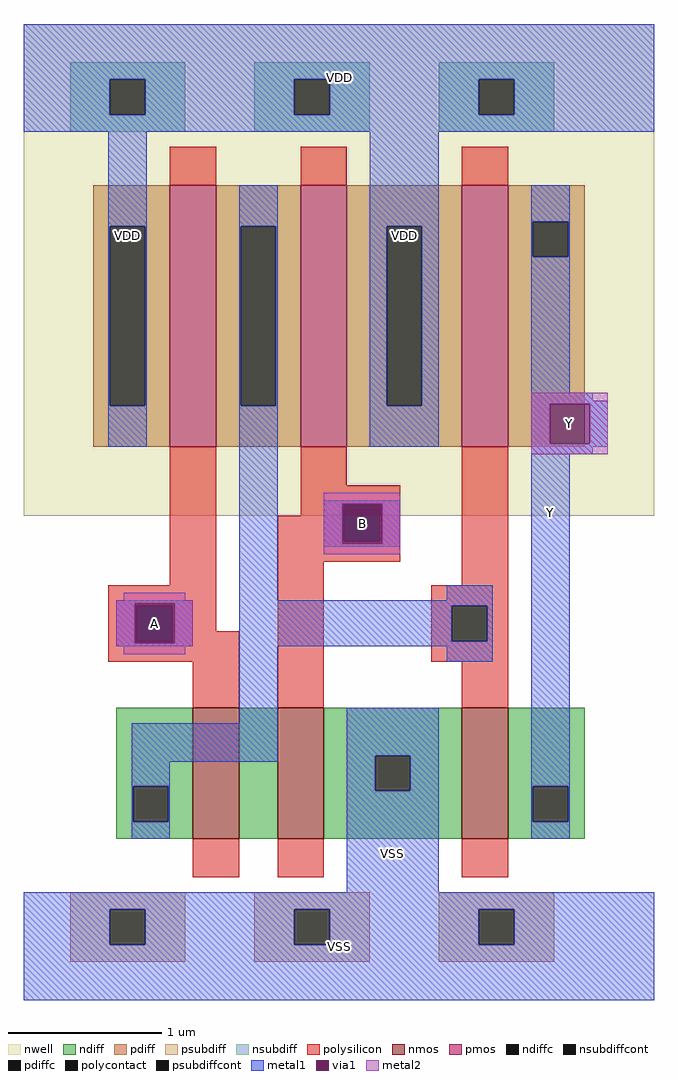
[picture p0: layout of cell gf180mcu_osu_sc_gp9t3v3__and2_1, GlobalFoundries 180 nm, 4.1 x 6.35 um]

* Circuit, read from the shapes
.subckt gf180mcu_osu_sc_gp9t3v3__and2_1 A B Y VDD VSS
XM1 n1 A n2 VSS nfet_03v3 w=0.85u l=0.3u
XM2 VSS B n1 VSS nfet_03v3 w=0.85u l=0.3u
XM3 Y n2 VSS VSS nfet_03v3 w=0.85u l=0.3u
XM4 n2 A VDD VDD pfet_03v3 w=1.7u l=0.3u
XM5 VDD B n2 VDD pfet_03v3 w=1.7u l=0.3u
XM6 Y n2 VDD VDD pfet_03v3 w=1.7u l=0.3u
.ends

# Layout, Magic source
magic
tech gf180mcuA
magscale 1 10
<< nwell >>
rect 0 630 820 1270
<< nmos >>
rect 220 210 280 380
rect 330 210 390 380
rect 570 210 630 380
<< pmos >>
rect 190 720 250 1060
rect 360 720 420 1060
rect 570 720 630 1060
<< ndiff >>
rect 120 278 220 380
rect 120 232 142 278
rect 188 232 220 278
rect 120 210 220 232
rect 280 210 330 380
rect 390 318 570 380
rect 390 272 457 318
rect 503 272 570 318
rect 390 210 570 272
rect 630 278 730 380
rect 630 232 662 278
rect 708 232 730 278
rect 630 210 730 232
<< pdiff >>
rect 90 1007 190 1060
rect 90 773 112 1007
rect 158 773 190 1007
rect 90 720 190 773
rect 250 1007 360 1060
rect 250 773 282 1007
rect 328 773 360 1007
rect 250 720 360 773
rect 420 1007 570 1060
rect 420 773 472 1007
rect 518 773 570 1007
rect 420 720 570 773
rect 630 1013 730 1060
rect 630 967 662 1013
rect 708 967 730 1013
rect 630 720 730 967
<< ndiffc >>
rect 142 232 188 278
rect 457 272 503 318
rect 662 232 708 278
<< pdiffc >>
rect 112 773 158 1007
rect 282 773 328 1007
rect 472 773 518 1007
rect 662 967 708 1013
<< psubdiff >>
rect 60 118 210 140
rect 60 72 112 118
rect 158 72 210 118
rect 60 50 210 72
rect 300 118 450 140
rect 300 72 352 118
rect 398 72 450 118
rect 300 50 450 72
rect 540 118 690 140
rect 540 72 592 118
rect 638 72 690 118
rect 540 50 690 72
<< nsubdiff >>
rect 60 1198 210 1220
rect 60 1152 112 1198
rect 158 1152 210 1198
rect 60 1130 210 1152
rect 300 1198 450 1220
rect 300 1152 352 1198
rect 398 1152 450 1198
rect 300 1130 450 1152
rect 540 1198 690 1220
rect 540 1152 592 1198
rect 638 1152 690 1198
rect 540 1130 690 1152
<< psubdiffcont >>
rect 112 72 158 118
rect 352 72 398 118
rect 592 72 638 118
<< nsubdiffcont >>
rect 112 1152 158 1198
rect 352 1152 398 1198
rect 592 1152 638 1198
<< polysilicon >>
rect 190 1060 250 1110
rect 360 1060 420 1110
rect 570 1060 630 1110
rect 190 540 250 720
rect 360 670 420 720
rect 360 643 490 670
rect 360 630 417 643
rect 110 513 250 540
rect 110 467 147 513
rect 193 480 250 513
rect 330 597 417 630
rect 463 597 490 643
rect 330 570 490 597
rect 193 467 280 480
rect 110 440 280 467
rect 220 380 280 440
rect 330 380 390 570
rect 570 540 630 720
rect 530 513 630 540
rect 530 467 557 513
rect 603 467 630 513
rect 530 440 630 467
rect 570 380 630 440
rect 220 160 280 210
rect 330 160 390 210
rect 570 160 630 210
<< polycontact >>
rect 147 467 193 513
rect 417 597 463 643
rect 557 467 603 513
<< metal1 >>
rect 0 1198 820 1270
rect 0 1152 112 1198
rect 158 1152 352 1198
rect 398 1152 592 1198
rect 638 1152 820 1198
rect 0 1130 820 1152
rect 110 1007 160 1130
rect 110 773 112 1007
rect 158 773 160 1007
rect 110 720 160 773
rect 280 1007 330 1060
rect 280 773 282 1007
rect 328 773 330 1007
rect 280 520 330 773
rect 450 1007 540 1130
rect 450 773 472 1007
rect 518 773 540 1007
rect 450 720 540 773
rect 660 1013 710 1060
rect 660 967 662 1013
rect 708 967 710 1013
rect 660 790 710 967
rect 660 780 740 790
rect 660 776 760 780
rect 660 724 684 776
rect 736 724 760 776
rect 660 720 760 724
rect 660 710 740 720
rect 390 646 490 650
rect 390 594 414 646
rect 466 594 490 646
rect 390 590 490 594
rect 550 520 610 540
rect 120 516 220 520
rect 120 464 144 516
rect 196 464 220 516
rect 120 460 220 464
rect 280 513 610 520
rect 280 467 557 513
rect 603 467 610 513
rect 280 460 610 467
rect 280 360 330 460
rect 550 440 610 460
rect 140 310 330 360
rect 420 318 540 380
rect 140 278 190 310
rect 140 232 142 278
rect 188 232 190 278
rect 140 210 190 232
rect 420 272 457 318
rect 503 272 540 318
rect 420 140 540 272
rect 660 278 710 710
rect 660 232 662 278
rect 708 232 710 278
rect 660 210 710 232
rect 0 118 820 140
rect 0 72 112 118
rect 158 72 352 118
rect 398 72 592 118
rect 638 72 820 118
rect 0 0 820 72
<< via1 >>
rect 684 724 736 776
rect 414 643 466 646
rect 414 597 417 643
rect 417 597 463 643
rect 463 597 466 643
rect 414 594 466 597
rect 144 513 196 516
rect 144 467 147 513
rect 147 467 193 513
rect 193 467 196 513
rect 144 464 196 467
<< metal2 >>
rect 660 776 760 790
rect 660 724 684 776
rect 736 724 760 776
rect 660 710 760 724
rect 390 646 490 660
rect 390 594 414 646
rect 466 594 490 646
rect 390 580 490 594
rect 130 520 210 530
rect 120 516 220 520
rect 120 464 144 516
rect 196 464 220 516
rect 120 460 220 464
rect 130 450 210 460
<< labels >>
rlabel via1 s 144 464 196 516 4 A
port 1 nsew signal input
rlabel via1 s 414 594 466 646 4 B
port 2 nsew signal input
rlabel via1 s 684 724 736 776 4 Y
port 3 nsew signal output
rlabel metal1 s 110 720 160 1270 4 VDD
port 4 nsew power bidirectional abutment
rlabel metal1 s 420 0 540 380 4 VSS
port 5 nsew ground bidirectional abutment
rlabel metal1 s 450 720 540 1270 1 VDD
port 4 nsew power bidirectional abutment
rlabel metal1 s 0 1130 820 1270 1 VDD
port 4 nsew power bidirectional abutment
rlabel metal1 s 0 0 820 140 1 VSS
port 5 nsew ground bidirectional abutment
rlabel metal2 s 130 450 210 530 1 A
port 1 nsew signal input
rlabel metal2 s 120 460 220 520 1 A
port 1 nsew signal input
rlabel metal1 s 120 460 220 520 1 A
port 1 nsew signal input
rlabel metal2 s 390 580 490 660 1 B
port 2 nsew signal input
rlabel metal1 s 390 590 490 650 1 B
port 2 nsew signal input
rlabel metal2 s 660 710 760 790 1 Y
port 3 nsew signal output
rlabel metal1 s 660 210 710 1060 1 Y
port 3 nsew signal output
rlabel metal1 s 660 710 740 790 1 Y
port 3 nsew signal output
rlabel metal1 s 660 720 760 780 1 Y
port 3 nsew signal output
<< properties >>
string FIXED_BBOX 0 0 820 1270
string GDS_END 36502
string GDS_FILE $PDKPATH/libs.ref/gf180mcu_osu_sc_gp9t3v3/gds/gf180mcu_osu_sc_gp9t3v3.gds
string GDS_START 30992
string LEFclass CORE
string LEFsite gf180mcu_osu_sc_gp9t3v3
string LEFsymmetry X Y
<< end >>
